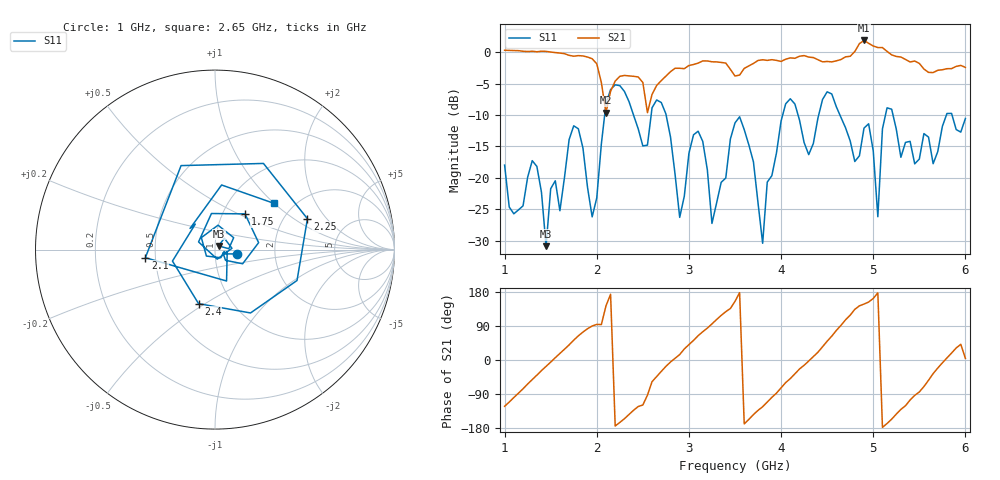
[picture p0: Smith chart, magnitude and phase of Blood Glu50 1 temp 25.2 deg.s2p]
! NanoVNA-App
! Date: 2024-03-20 20:02:14
! Start: 1GHz Stop: 6GHz Points: 101
! S-Parameter data: F S11 S21 S12 S22
# Hz S RI R 50
!	Frequency	S11_Real	S11_Imag	S21_Real	S21_Imag	S12_Real	S12_Imag	S22_Real	S22_Imag
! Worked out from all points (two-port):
!   101 points, 1 GHz to 6 GHz, reference 50 ohm
!   highest |S21| = 1.89 dB at 4.9 GHz (marker M1); lowest = -9.6 dB at 2.1 GHz (marker M2)
!   |S21| within 3 dB of the highest: start of sweep to 1.956 GHz; 4.654 GHz to 5.347 GHz (692.7 MHz wide, 13.9 % of centre)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
!   lowest |S11| = -30.9 dB at 1.45 GHz (marker M3), VSWR 1.06, Z = 52 + j2.15 ohm
!   |S11| at or under -10 dB: start of sweep to 2.086 GHz; 2.753 GHz to 4.017 GHz (1.265 GHz wide, 37.4 % of centre); 5.215 GHz to 5.794 GHz (579 MHz wide, 10.5 % of centre)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
!   S12 and S22 are empty: the file has one direction only
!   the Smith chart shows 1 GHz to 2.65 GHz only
!   S11 on the Smith chart (normalised r, x): 1 GHz: 1.28, -0.06; 1.75 GHz: 1.27, +0.54; 2.1 GHz: 0.44, -0.05; 2.25 GHz: 2.66, +1.30; 2.4 GHz: 0.70, -0.47; 2.65 GHz: 1.59, +1.00
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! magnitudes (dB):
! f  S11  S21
! 1 GHz  -18.0  0.3
! 1.35 GHz  -18.2  0.1
! 1.45 GHz  -30.9  0.2
! 1.75 GHz  -11.7  -0.6
! 1.85 GHz  -15.2  -0.6
! 1.95 GHz  -26.2  -1.0
! 2.1 GHz  -8.2  -9.6
! 2.25 GHz  -5.3  -3.8
! 2.4 GHz  -10.0  -3.8
! 2.65 GHz  -7.6  -5.3
! 2.7 GHz  -8.0  -4.5
! 2.9 GHz  -26.3  -2.5
! 3.1 GHz  -12.6  -1.7
! 3.25 GHz  -27.3  -1.5
! 3.5 GHz  -11.2  -3.8
! 3.8 GHz  -30.4  -1.2
! 4.05 GHz  -8.2  -1.1
! 4.35 GHz  -14.5  -0.8
! 4.9 GHz  -12.1  1.9
! 5.05 GHz  -26.2  0.8
! 5.2 GHz  -9.1  -0.4
! 6 GHz  -10.5  -2.4
